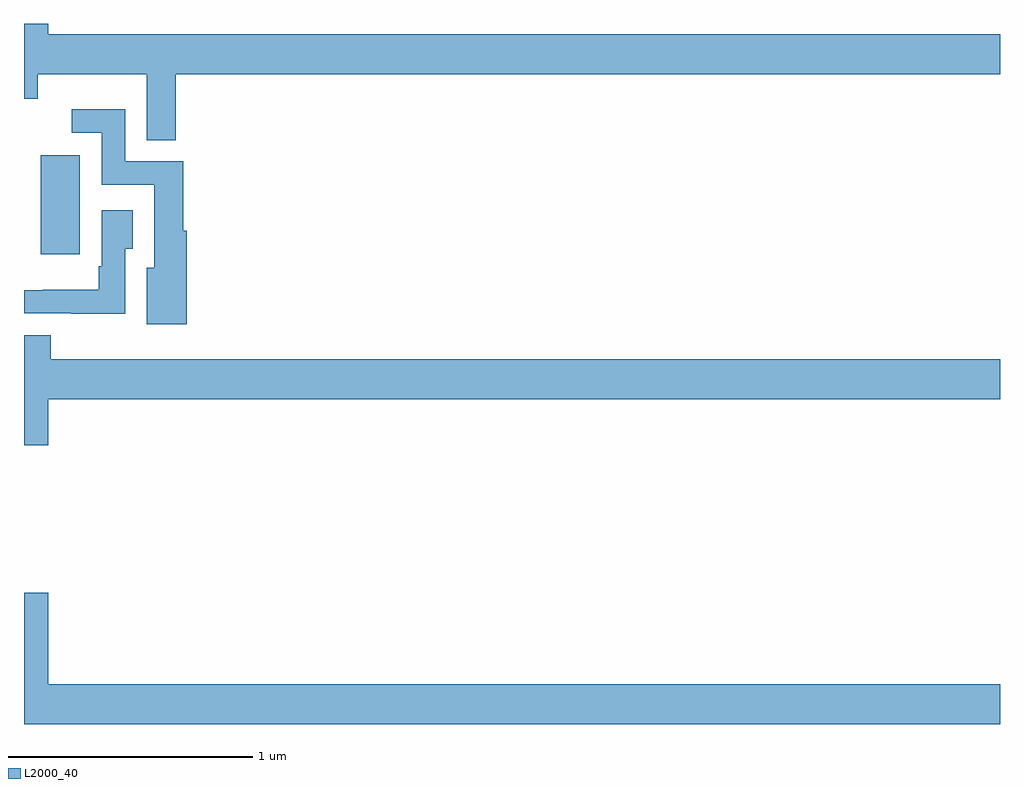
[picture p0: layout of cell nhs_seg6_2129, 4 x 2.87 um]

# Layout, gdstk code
import gdstk
lib = gdstk.Library(unit=1e-6, precision=1e-09)
def R(c, l, rs):  # rectangles x0, y0, x1, y1
    for r in rs: c.add(gdstk.rectangle(r[:2], r[2:], *l))
def P(c, l, *ps):  # polygons
    for p in ps: c.add(gdstk.Polygon(p, *l))
L2000_40 = (2000, 40)

nhs_seg6_2129 = lib.new_cell('nhs_seg6_2129')
R(nhs_seg6_2129, L2000_40, [(237.068,990.555,237.229,990.961)])
P(nhs_seg6_2129, L2000_40, [(237.622,991.292),(241,991.292),(241,991.456),(237.1,991.456),(237.1,991.5),(237,991.5),(237,991.193),(237.057,991.193),(237.057,991.292),(237.503,991.292),(237.503,991.021),(237.622,991.021)],
  [(237.668,990.651),(237.652,990.651),(237.652,990.936),(237.414,990.936),(237.414,991.15),(237.195,991.15),(237.195,991.053),(237.318,991.053),(237.318,990.84),(237.533,990.84),(237.533,990.499),(237.503,990.499),(237.503,990.267),(237.668,990.267)],
  [(237.414,990.577),(237.445,990.577),(237.445,990.736),(237.318,990.736),(237.318,990.505),(237.306,990.505),(237.306,990.409),(237.076,990.409),(237.076,990.408),(237,990.408),(237,990.312),(237.193,990.312),(237.193,990.311),(237.414,990.311)],
  [(237.1,989.96),(241,989.96),(241,990.124),(237.11,990.124),(237.11,990.223),(237,990.223),(237,989.772),(237.1,989.772)],
  [(241,988.792),(237.1,988.792),(237.1,989.167),(237,989.167),(237,988.628),(241,988.628)])

lib.write_gds('nhs_seg6_2129.gds')
